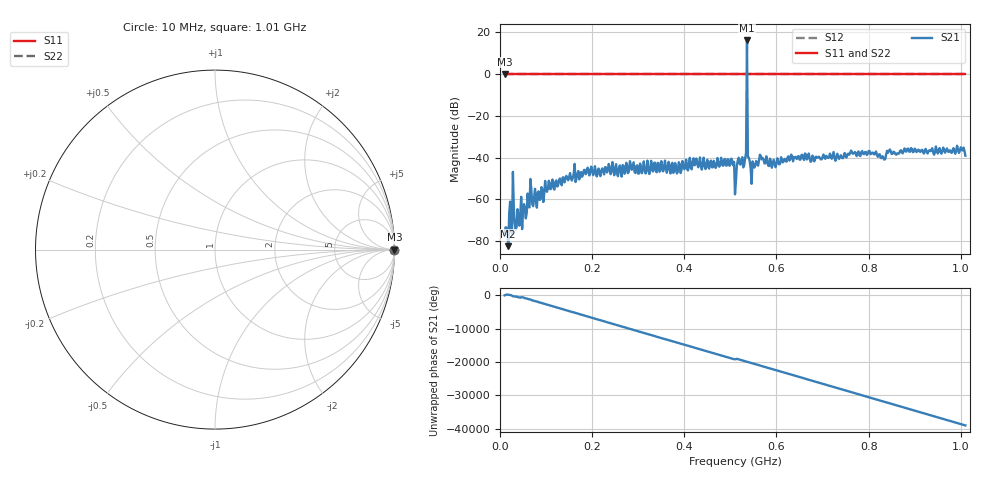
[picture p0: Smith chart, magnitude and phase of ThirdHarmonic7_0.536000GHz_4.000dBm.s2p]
! 8/17/2025 4:03:08 PM
! C:\ANRITSUVNA\TEMP\TEMP.S2P
! CHANNEL.1
! TR.MEASUREMENT
! RAW.DATA
! RF.CORRECTION.OFF
! AVERAGING.OFF
! IF.BANDWIDTH: 5KHZ
! SWEEPTYPE:  FREQ.SWEEP(Linear)
! Reference Plane Port Info
! PORT:  PORT1  PORT2
! DISTANCE:  0  m  0  m
! TIME:  0  s  0  s
! PHASE.OFFSET:  0  deg.  0  deg.
! LOSS:  0  dB  0  dB
! REF.LOSS:  0  dB  0  dB
! REF.FREQ:  0  Hz  0  Hz
! Power Info
! POWER:  -20  dBm  -20  dBm
! EFF.POWER:  -20  dBm  -20  dBm
! SOURCE.ATTEN:  0  dB  0  dB
! TEST.ATTEN:  0  dB  0  dB
# GHZ S RI R 50.0
! FREQ.GHZ  S11RE  S11IM  S21RE  S21IM  S12RE  S12IM  S22RE  S22IM
!; PortSelection: Port_12
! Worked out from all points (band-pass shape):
!   501 points, 10 MHz to 1.01 GHz, reference 50 ohm
!   highest |S21| = 15.99 dB at 536 MHz (marker M1); lowest = -82.4 dB at 18 MHz (marker M2)
!   |S21| within 3 dB of the highest: 535.8884 MHz to 536.1075 MHz (219.1 kHz wide, 0.0409 % of centre)
!   lowest |S11| = 0.0 dB at 10 MHz (marker M3)
!   |S11| at or under -10 dB: nowhere
!   |S22| runs from 0.0 to 0.0 dB; largest |S21 - S12| = 7.3
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0.01  1 0  -1.8e-06 -0.00016  1 0  1 0
0.018  1 0  -5.7e-06 7.59e-05  1 0  1 0
0.022  1 0  0.000673 0.00057  1 0  1 0
0.026  1 0  -0.000152 1.33e-05  1 0  1 0
0.036  1 0  3.35e-05 -0.000216  1 0  1 0
0.052  1 0  0.000337 -0.000692  1 0  1 0
0.064  1 0  -0.000438 0.000469  1 0  1 0
0.076  1 0  0.00179 -1.93e-05  1 0  1 0
0.11  1 0  0.000666 0.00162  1 0  1 0
0.178  1 0  -0.00336 -0.000863  1 0  1 0
0.344  1 0  0.00723 -0.00145  1 0  1 0
0.498  1 0  0.00396 -0.00496  1 0  1 0
0.51  1 0  -0.000296 -0.00129  1 0  1 0
0.53  1 0  -0.00314 0.00584  1 0  1 0
0.532  1 0  0.00812 0.00521  1 0  1 0
0.536  1 0  -6.225 -0.9759  1 0  1 0
0.54  1 0  0.00263 0.00965  1 0  1 0
0.542  1 0  0.00739 -0.00325  1 0  1 0
0.568  1 0  0.00824 0.00372  1 0  1 0
0.678  1 0  0.00593 -0.00942  1 0  1 0
0.844  1 0  -0.00766 0.012  1 0  1 0
1.01  1 0  0.00114 -0.011  1 0  1 0
